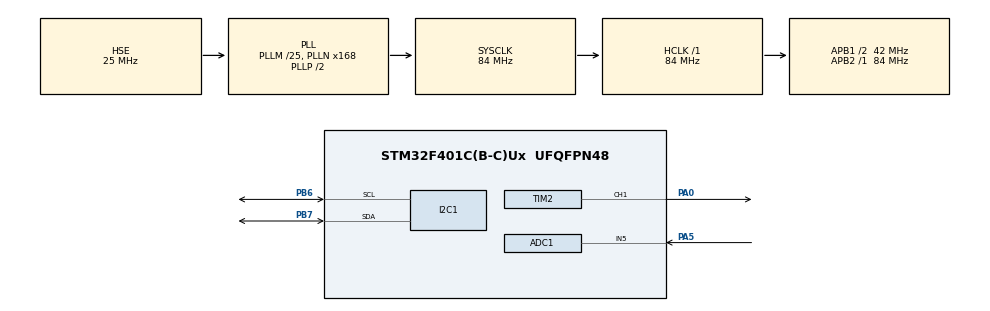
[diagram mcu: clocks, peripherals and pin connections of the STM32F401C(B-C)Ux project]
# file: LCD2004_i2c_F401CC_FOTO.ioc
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ADC1.Channel-0\#ChannelRegularConversion=ADC_CHANNEL_5
ADC1.NbrOfConversionFlag=1
ADC1.Rank-0\#ChannelRegularConversion=1
ADC1.SamplingTime-0\#ChannelRegularConversion=ADC_SAMPLETIME_3CYCLES
ADC1.master=1
Dma.ADC1.0.Direction=DMA_PERIPH_TO_MEMORY
Dma.ADC1.0.FIFOMode=DMA_FIFOMODE_DISABLE
Dma.ADC1.0.Instance=DMA2_Stream0
Dma.ADC1.0.MemDataAlignment=DMA_MDATAALIGN_HALFWORD
Dma.ADC1.0.MemInc=DMA_MINC_ENABLE
Dma.ADC1.0.Mode=DMA_CIRCULAR
Dma.ADC1.0.PeriphDataAlignment=DMA_PDATAALIGN_HALFWORD
Dma.ADC1.0.PeriphInc=DMA_PINC_DISABLE
Dma.ADC1.0.Priority=DMA_PRIORITY_LOW
Dma.Request0=ADC1
I2C1.I2C_Mode=I2C_Fast
Mcu.Family=STM32F4
Mcu.Name=STM32F401C(B-C)Ux
Mcu.Package=UFQFPN48
NVIC.ADC_IRQn=true\:0\:0\:false\:false\:true\:true\:true\:true
NVIC.DMA2_Stream0_IRQn=true\:0\:0\:false\:false\:true\:false\:true\:true
NVIC.PriorityGroup=NVIC_PRIORITYGROUP_4
PA0-WKUP.Signal=S_TIM2_CH1_ETR
PA13.Mode=Serial_Wire
PA13.Signal=SYS_JTMS-SWDIO
PA14.Mode=Serial_Wire
PA14.Signal=SYS_JTCK-SWCLK
PA5.Signal=ADCx_IN5
PB6.Mode=I2C
PB6.Signal=I2C1_SCL
PB7.Mode=I2C
PB7.Signal=I2C1_SDA
PC14-OSC32_IN.Mode=LSE-External-Oscillator
PC14-OSC32_IN.Signal=RCC_OSC32_IN
PC15-OSC32_OUT.Mode=LSE-External-Oscillator
PC15-OSC32_OUT.Signal=RCC_OSC32_OUT
PH0\ -\ OSC_IN.Mode=HSE-External-Oscillator
PH0\ -\ OSC_IN.Signal=RCC_OSC_IN
PH1\ -\ OSC_OUT.Mode=HSE-External-Oscillator
PH1\ -\ OSC_OUT.Signal=RCC_OSC_OUT
ProjectManager.HeapSize=0x200
ProjectManager.StackSize=0x400
ProjectManager.TargetToolchain=STM32CubeIDE
RCC.48MHZClocksFreq_Value=42000000
RCC.AHBFreq_Value=84000000
RCC.APB1CLKDivider=RCC_HCLK_DIV2
RCC.APB1Freq_Value=42000000
RCC.APB1TimFreq_Value=84000000
RCC.APB2Freq_Value=84000000
RCC.APB2TimFreq_Value=84000000
RCC.CortexFreq_Value=84000000
RCC.HCLKFreq_Value=84000000
RCC.HSE_VALUE=25000000
RCC.HSI_VALUE=16000000
RCC.PLLM=25
RCC.PLLN=168
RCC.PLLSourceVirtual=RCC_PLLSOURCE_HSE
RCC.RCC_RTC_Clock_Source=RCC_RTCCLKSOURCE_LSE
RCC.RCC_RTC_Clock_SourceVirtual=RCC_RTCCLKSOURCE_LSE
RCC.SYSCLKFreq_VALUE=84000000
RCC.SYSCLKSource=RCC_SYSCLKSOURCE_PLLCLK
RCC.VCOOutputFreq_Value=168000000
SH.ADCx_IN5.0=ADC1_IN5,IN5
SH.S_TIM2_CH1_ETR.0=TIM2_CH1,PWM Generation1 CH1
TIM2.Channel-PWM\ Generation1\ CH1=TIM_CHANNEL_1
TIM2.Period=9999
TIM2.Prescaler=839
VP_ADC1_Vbat_Input.Mode=IN-Vbat
VP_TIM2_VS_ClockSourceINT.Mode=Internal
board=custom

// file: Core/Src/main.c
/* USER CODE BEGIN Header */
/**
  ******************************************************************************
  * @file           : main.c
  * @brief          : Main program body
  ******************************************************************************
  * @attention
  *
  * Copyright (c) 2022 STMicroelectronics.
  * All rights reserved.
  *
  * This software is licensed under terms that can be found in the LICENSE file
  * in the root directory of this software component.
  * If no LICENSE file comes with this software, it is provided AS-IS.
  *
  ******************************************************************************
  */
/* USER CODE END Header */
#include "main.h"

/* USER CODE BEGIN Includes */
#include <string.h>
#include <stdarg.h>
#include <stdbool.h>
#include <stdio.h>
#include "lcd1602_i2c_lib.h"
#include "grid22_numer.h"

/* USER CODE END Includes */

ADC_HandleTypeDef hadc1;
DMA_HandleTypeDef hdma_adc1;

I2C_HandleTypeDef hi2c1;

TIM_HandleTypeDef htim2;

/* USER CODE BEGIN PV */
extern char lcd1602_tx_buffer[40] ;
char str[100] ;
//uint8_t value ;
//uint16_t i = 0 ;
//uint8_t b,c = 0 ;
//uint16_t pwm_value = 0; // test
//int8_t step = 0; //test
/* Photocell vars Пример из схем */
uint32_t Pht_R;
float Pht_Div;
float Pht_Temp;
uint32_t Pht_Lux;
#define PHT_UP_R 10000.0F
#define PHT_10LX_R 50000.0F
#define PHT_GAMMA 0.8F
uint16_t ADC_Raw[1];
uint8_t Sch_100ms = 255;

/* USER CODE END PV */

void SystemClock_Config(void);
static void MX_GPIO_Init(void);
static void MX_DMA_Init(void);
static void MX_I2C1_Init(void);
static void MX_ADC1_Init(void);
static void MX_TIM2_Init(void);
/* USER CODE BEGIN PFP */
//void setPWM(uint16_t pwm_value);
/* USER CODE END PFP */

int main(void)
{

  /* MCU Configuration--------------------------------------------------------*/

  /* Reset of all peripherals, Initializes the Flash interface and the Systick. */
  HAL_Init();

  /* Configure the system clock */
  SystemClock_Config();

  /* Initialize all configured peripherals */
  MX_GPIO_Init();
  MX_DMA_Init();
  MX_I2C1_Init();
  MX_ADC1_Init();
  MX_TIM2_Init();
  /* USER CODE BEGIN 2 */
	HAL_TIM_PWM_Start(&htim2, TIM_CHANNEL_1) ;
	HAL_Delay(100) ;
	lcd1602_Init();
	lcd_symbol_creat() ;

	lcd1602_Backlight(1) ;
	lcd1602_SetCursor(0, 0) ;
	lcd1602_Print_text("Hello World!") ;
	lcd1602_SetCursor(0, 1) ;
	lcd1602_Print_text("F401CC_RTC_BME280") ;

	HAL_Delay(500) ;
	lcd1602_Clear() ;

  /* USER CODE END 2 */

  /* Infinite loop */
  while (1)
  {

  }
}

void SystemClock_Config(void)
{
  RCC_OscInitTypeDef RCC_OscInitStruct = {0};
  RCC_ClkInitTypeDef RCC_ClkInitStruct = {0};

  /** Configure the main internal regulator output voltage
  */
  __HAL_RCC_PWR_CLK_ENABLE();
  __HAL_PWR_VOLTAGESCALING_CONFIG(PWR_REGULATOR_VOLTAGE_SCALE2);

  /** Initializes the RCC Oscillators according to the specified parameters
  * in the RCC_OscInitTypeDef structure.
  */
  RCC_OscInitStruct.OscillatorType = RCC_OSCILLATORTYPE_HSE;
  RCC_OscInitStruct.HSEState = RCC_HSE_ON;
  RCC_OscInitStruct.PLL.PLLState = RCC_PLL_ON;
  RCC_OscInitStruct.PLL.PLLSource = RCC_PLLSOURCE_HSE;
  RCC_OscInitStruct.PLL.PLLM = 25;
  RCC_OscInitStruct.PLL.PLLN = 168;
  RCC_OscInitStruct.PLL.PLLP = RCC_PLLP_DIV2;
  RCC_OscInitStruct.PLL.PLLQ = 4;
  if (HAL_RCC_OscConfig(&RCC_OscInitStruct) != HAL_OK)
  {
    Error_Handler();
  }

  /** Initializes the CPU, AHB and APB buses clocks
  */
  RCC_ClkInitStruct.ClockType = RCC_CLOCKTYPE_HCLK|RCC_CLOCKTYPE_SYSCLK
                              |RCC_CLOCKTYPE_PCLK1|RCC_CLOCKTYPE_PCLK2;
  RCC_ClkInitStruct.SYSCLKSource = RCC_SYSCLKSOURCE_PLLCLK;
  RCC_ClkInitStruct.AHBCLKDivider = RCC_SYSCLK_DIV1;
  RCC_ClkInitStruct.APB1CLKDivider = RCC_HCLK_DIV2;
  RCC_ClkInitStruct.APB2CLKDivider = RCC_HCLK_DIV1;

  if (HAL_RCC_ClockConfig(&RCC_ClkInitStruct, FLASH_LATENCY_2) != HAL_OK)
  {
    Error_Handler();
  }
}

static void MX_ADC1_Init(void)
{

  ADC_ChannelConfTypeDef sConfig = {0};

  /** Configure the global features of the ADC (Clock, Resolution, Data Alignment and number of conversion)
  */
  hadc1.Instance = ADC1;
  hadc1.Init.ClockPrescaler = ADC_CLOCK_SYNC_PCLK_DIV4;
  hadc1.Init.Resolution = ADC_RESOLUTION_12B;
  hadc1.Init.ScanConvMode = DISABLE;
  hadc1.Init.ContinuousConvMode = DISABLE;
  hadc1.Init.DiscontinuousConvMode = DISABLE;
  hadc1.Init.ExternalTrigConvEdge = ADC_EXTERNALTRIGCONVEDGE_NONE;
  hadc1.Init.ExternalTrigConv = ADC_SOFTWARE_START;
  hadc1.Init.DataAlign = ADC_DATAALIGN_RIGHT;
  hadc1.Init.NbrOfConversion = 1;
  hadc1.Init.DMAContinuousRequests = DISABLE;
  hadc1.Init.EOCSelection = ADC_EOC_SINGLE_CONV;
  if (HAL_ADC_Init(&hadc1) != HAL_OK)
  {
    Error_Handler();
  }

  /** Configure for the selected ADC regular channel its corresponding rank in the sequencer and its sample time.
  */
  sConfig.Channel = ADC_CHANNEL_5;
  sConfig.Rank = 1;
  sConfig.SamplingTime = ADC_SAMPLETIME_3CYCLES;
  if (HAL_ADC_ConfigChannel(&hadc1, &sConfig) != HAL_OK)
  {
    Error_Handler();
  }

}

static void MX_I2C1_Init(void)
{

  hi2c1.Instance = I2C1;
  hi2c1.Init.ClockSpeed = 400000;
  hi2c1.Init.DutyCycle = I2C_DUTYCYCLE_2;
  hi2c1.Init.OwnAddress1 = 0;
  hi2c1.Init.AddressingMode = I2C_ADDRESSINGMODE_7BIT;
  hi2c1.Init.DualAddressMode = I2C_DUALADDRESS_DISABLE;
  hi2c1.Init.OwnAddress2 = 0;
  hi2c1.Init.GeneralCallMode = I2C_GENERALCALL_DISABLE;
  hi2c1.Init.NoStretchMode = I2C_NOSTRETCH_DISABLE;
  if (HAL_I2C_Init(&hi2c1) != HAL_OK)
  {
    Error_Handler();
  }

}

static void MX_TIM2_Init(void)
{

  TIM_ClockConfigTypeDef sClockSourceConfig = {0};
  TIM_MasterConfigTypeDef sMasterConfig = {0};
  TIM_OC_InitTypeDef sConfigOC = {0};

  htim2.Instance = TIM2;
  htim2.Init.Prescaler = 839;
  htim2.Init.CounterMode = TIM_COUNTERMODE_UP;
  htim2.Init.Period = 9999;
  htim2.Init.ClockDivision = TIM_CLOCKDIVISION_DIV1;
  htim2.Init.AutoReloadPreload = TIM_AUTORELOAD_PRELOAD_DISABLE;
  if (HAL_TIM_Base_Init(&htim2) != HAL_OK)
  {
    Error_Handler();
  }
  sClockSourceConfig.ClockSource = TIM_CLOCKSOURCE_INTERNAL;
  if (HAL_TIM_ConfigClockSource(&htim2, &sClockSourceConfig) != HAL_OK)
  {
    Error_Handler();
  }
  if (HAL_TIM_PWM_Init(&htim2) != HAL_OK)
  {
    Error_Handler();
  }
  sMasterConfig.MasterOutputTrigger = TIM_TRGO_RESET;
  sMasterConfig.MasterSlaveMode = TIM_MASTERSLAVEMODE_DISABLE;
  if (HAL_TIMEx_MasterConfigSynchronization(&htim2, &sMasterConfig) != HAL_OK)
  {
    Error_Handler();
  }
  sConfigOC.OCMode = TIM_OCMODE_PWM1;
  sConfigOC.Pulse = 0;
  sConfigOC.OCPolarity = TIM_OCPOLARITY_HIGH;
  sConfigOC.OCFastMode = TIM_OCFAST_DISABLE;
  if (HAL_TIM_PWM_ConfigChannel(&htim2, &sConfigOC, TIM_CHANNEL_1) != HAL_OK)
  {
    Error_Handler();
  }
  HAL_TIM_MspPostInit(&htim2);

}

static void MX_DMA_Init(void)
{

  /* DMA controller clock enable */
  __HAL_RCC_DMA2_CLK_ENABLE();

  /* DMA interrupt init */
  /* DMA2_Stream0_IRQn interrupt configuration */
  HAL_NVIC_SetPriority(DMA2_Stream0_IRQn, 0, 0);
  HAL_NVIC_EnableIRQ(DMA2_Stream0_IRQn);

}

static void MX_GPIO_Init(void)
{

  /* GPIO Ports Clock Enable */
  __HAL_RCC_GPIOC_CLK_ENABLE();
  __HAL_RCC_GPIOH_CLK_ENABLE();
  __HAL_RCC_GPIOA_CLK_ENABLE();
  __HAL_RCC_GPIOB_CLK_ENABLE();

}

/* USER CODE BEGIN 4 */
//void setPWM(uint16_t value)
//{
//    TIM_OC_InitTypeDef sConfigOC;
//
//    sConfigOC.OCMode = TIM_OCMODE_PWM1;
//    sConfigOC.Pulse = value;
//    sConfigOC.OCPolarity = TIM_OCPOLARITY_HIGH;
//    sConfigOC.OCFastMode = TIM_OCFAST_DISABLE;
//    HAL_TIM_PWM_ConfigChannel(&htim2, &sConfigOC, TIM_CHANNEL_1); // таймер №1, канал №3
//    HAL_TIM_PWM_Start(&htim2, TIM_CHANNEL_1);
//}
/* USER CODE END 4 */

void Error_Handler(void)
{
  __disable_irq();
  while (1)
  {
  }
}
